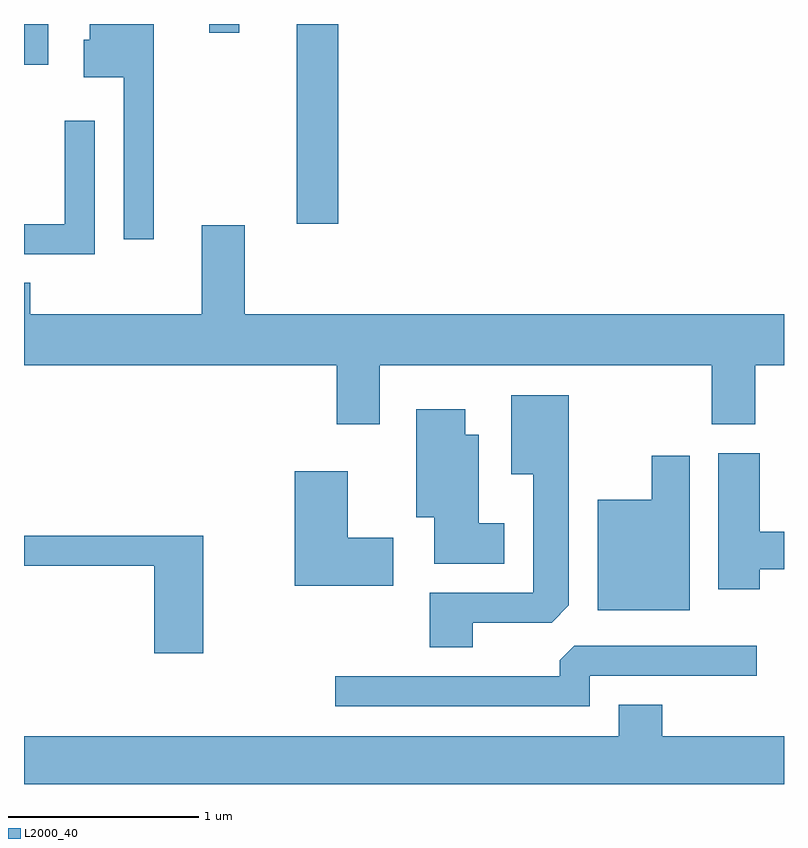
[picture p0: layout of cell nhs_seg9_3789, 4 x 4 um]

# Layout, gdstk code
import gdstk
lib = gdstk.Library(unit=1e-6, precision=1e-09)
def R(c, l, rs):  # rectangles x0, y0, x1, y1
    for r in rs: c.add(gdstk.rectangle(r[:2], r[2:], *l))
def P(c, l, *ps):  # polygons
    for p in ps: c.add(gdstk.Polygon(p, *l))
L2000_40 = (2000, 40)

nhs_seg9_3789 = lib.new_cell('nhs_seg9_3789')
R(nhs_seg9_3789, L2000_40, [(297.046,2061.381,297.264,2062.432), (295.611,2062.218,295.739,2062.432), (296.586,2062.387,296.744,2062.432)])
P(nhs_seg9_3789, L2000_40, [(296.294,2062.432),(295.956,2062.432),(295.956,2062.349),(295.926,2062.349),(295.926,2062.151),(296.136,2062.151),(296.136,2061.298),(296.294,2061.298)],
  [(295.984,2061.923),(295.826,2061.923),(295.826,2061.379),(295.611,2061.379),(295.611,2061.221),(295.984,2061.221)],
  [(297.484,2060.636),(299.231,2060.636),(299.231,2060.326),(299.459,2060.326),(299.459,2060.636),(299.611,2060.636),(299.611,2060.904),(296.774,2060.904),(296.774,2061.374),(296.546,2061.374),(296.546,2060.904),(295.644,2060.904),(295.644,2061.069),(295.611,2061.069),(295.611,2060.636),(297.256,2060.636),(297.256,2060.326),(297.484,2060.326)],
  [(297.974,2059.281),(298.389,2059.281),(298.479,2059.372),(298.479,2060.479),(298.176,2060.479),(298.176,2060.061),(298.291,2060.061),(298.291,2059.439),(297.746,2059.439),(297.746,2059.151),(297.974,2059.151)],
  [(298.139,2059.804),(298.004,2059.804),(298.004,2060.269),(297.934,2060.269),(297.934,2060.404),(297.676,2060.404),(297.676,2059.836),(297.771,2059.836),(297.771,2059.591),(298.139,2059.591)],
  [(299.484,2059.561),(299.611,2059.561),(299.611,2059.759),(299.484,2059.759),(299.484,2060.174),(299.266,2060.174),(299.266,2059.456),(299.484,2059.456)],
  [(299.114,2060.159),(298.916,2060.159),(298.916,2059.929),(298.631,2059.929),(298.631,2059.346),(299.114,2059.346)],
  [(297.554,2059.729),(297.314,2059.729),(297.314,2060.079),(297.036,2060.079),(297.036,2059.476),(297.554,2059.476)],
  [(296.554,2059.739),(295.611,2059.739),(295.611,2059.581),(296.296,2059.581),(296.296,2059.121),(296.554,2059.121)],
  [(298.589,2059.001),(299.468,2059.001),(299.468,2059.159),(298.507,2059.159),(298.431,2059.084),(298.431,2058.999),(297.248,2058.999),(297.248,2058.841),(298.589,2058.841)],
  [(299.611,2058.684),(298.969,2058.684),(298.969,2058.849),(298.741,2058.849),(298.741,2058.684),(295.611,2058.684),(295.611,2058.432),(299.611,2058.432)])

lib.write_gds('nhs_seg9_3789.gds')
